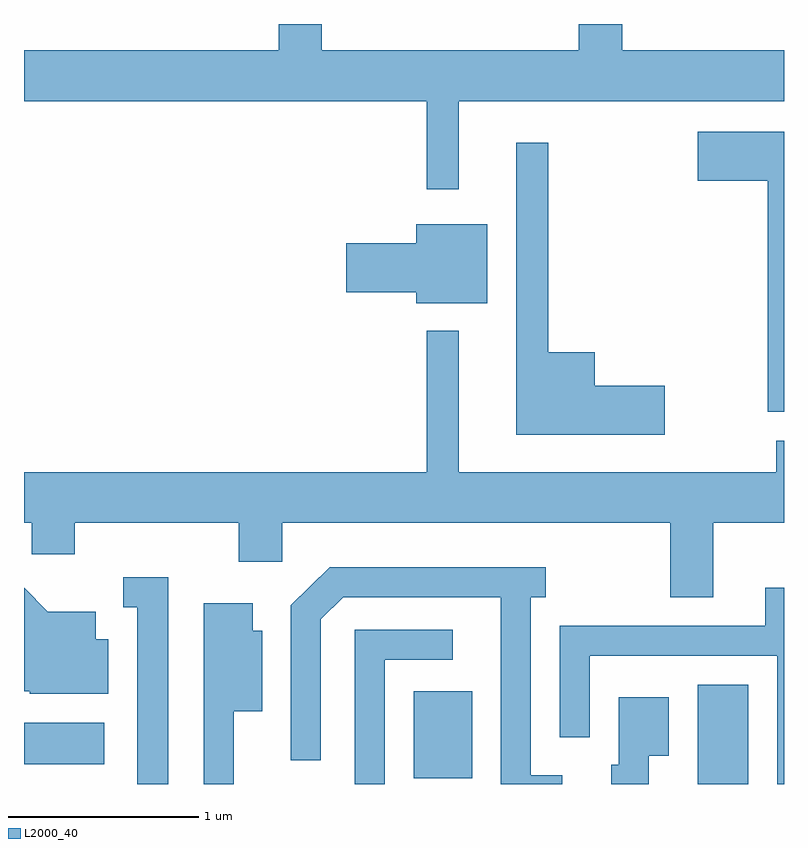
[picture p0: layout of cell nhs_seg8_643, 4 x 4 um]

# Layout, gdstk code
import gdstk
lib = gdstk.Library(unit=1e-6, precision=1e-09)
def R(c, l, rs):  # rectangles x0, y0, x1, y1
    for r in rs: c.add(gdstk.rectangle(r[:2], r[2:], *l))
def P(c, l, *ps):  # polygons
    for p in ps: c.add(gdstk.Polygon(p, *l))
L2000_40 = (2000, 40)

nhs_seg8_643 = lib.new_cell('nhs_seg8_643')
R(nhs_seg8_643, L2000_40, [(207.156,1868.342,207.424,1868.864), (205.661,1868.371,205.969,1868.829), (203.611,1868.446,204.034,1868.664)])
P(nhs_seg8_643, L2000_40, [(205.899,1871.936),(207.611,1871.936),(207.611,1872.204),(206.759,1872.204),(206.759,1872.342),(206.531,1872.342),(206.531,1872.204),(205.179,1872.204),(205.179,1872.342),(204.951,1872.342),(204.951,1872.204),(203.611,1872.204),(203.611,1871.936),(205.731,1871.936),(205.731,1871.473),(205.899,1871.473)],
  [(207.611,1871.774),(207.156,1871.774),(207.156,1871.516),(207.526,1871.516),(207.526,1870.301),(207.611,1870.301)],
  [(206.984,1870.439),(206.614,1870.439),(206.614,1870.614),(206.369,1870.614),(206.369,1871.718),(206.201,1871.718),(206.201,1870.181),(206.984,1870.181)],
  [(206.049,1871.289),(205.676,1871.289),(205.676,1871.189),(205.306,1871.189),(205.306,1870.931),(205.676,1870.931),(205.676,1870.871),(206.049,1870.871)],
  [(207.239,1869.716),(207.611,1869.716),(207.611,1870.149),(207.571,1870.149),(207.571,1869.984),(205.899,1869.984),(205.899,1870.728),(205.731,1870.728),(205.731,1869.984),(203.611,1869.984),(203.611,1869.716),(203.651,1869.716),(203.651,1869.551),(203.879,1869.551),(203.879,1869.716),(204.741,1869.716),(204.741,1869.511),(204.969,1869.511),(204.969,1869.716),(207.011,1869.716),(207.011,1869.326),(207.239,1869.326)],
  [(206.443,1868.389),(206.279,1868.389),(206.279,1869.326),(206.358,1869.326),(206.358,1869.484),(205.219,1869.484),(205.016,1869.282),(205.016,1868.468),(205.174,1868.468),(205.174,1869.209),(205.292,1869.326),(206.121,1869.326),(206.121,1868.342),(206.443,1868.342)],
  [(204.369,1869.429),(204.133,1869.429),(204.133,1869.271),(204.206,1869.271),(204.206,1868.342),(204.369,1868.342)],
  [(204.054,1869.104),(203.989,1869.104),(203.989,1869.249),(203.737,1869.249),(203.611,1869.375),(203.611,1868.831),(203.64,1868.831),(203.64,1868.816),(204.054,1868.816)],
  [(207.611,1869.374),(207.511,1869.374),(207.511,1869.174),(206.431,1869.174),(206.431,1868.588),(206.589,1868.588),(206.589,1869.016),(207.576,1869.016),(207.576,1868.342),(207.611,1868.342)],
  [(204.714,1868.726),(204.864,1868.726),(204.864,1869.149),(204.814,1869.149),(204.814,1869.294),(204.556,1869.294),(204.556,1868.342),(204.714,1868.342)],
  [(205.509,1868.996),(205.868,1868.996),(205.868,1869.154),(205.351,1869.154),(205.351,1868.342),(205.509,1868.342)],
  [(206.899,1868.491),(207.004,1868.491),(207.004,1868.799),(206.741,1868.799),(206.741,1868.444),(206.701,1868.444),(206.701,1868.342),(206.899,1868.342)])

lib.write_gds('nhs_seg8_643.gds')
